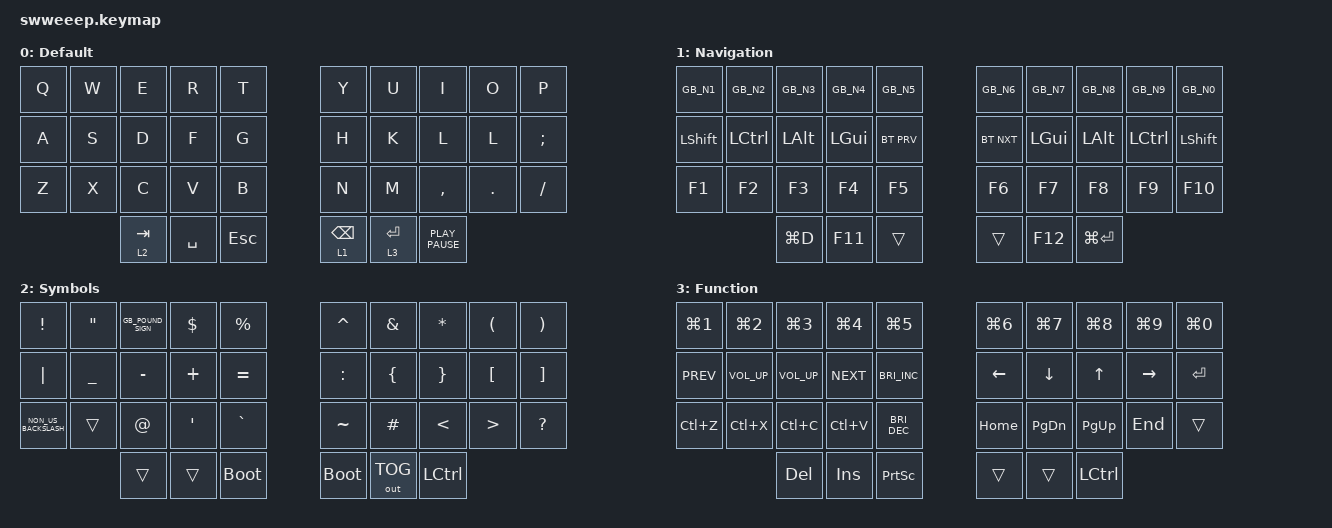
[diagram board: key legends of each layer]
#include <behaviors.dtsi>
#include <dt-bindings/zmk/bt.h>
#include <dt-bindings/zmk/keys.h>
#include <dt-bindings/zmk/outputs.h>
#include "keys_en_gb.h"

#define DEFAULT 0
#define NAV     1
#define SYM     2
#define FUNC    3
#define MEDIA   4
#define MOUSE   5
#define WINNAV  6

&caps_word {
    continue-list = <UNDERSCORE MINUS>;
};

/ {
    combos {
        compatible = "zmk,combos";

        combo_undo {
            timeout-ms = <50>;
            key-positions = <20 21>;
            bindings = <&kp LC(Z)>;
        };
    };
};

/ {
    behaviors {
        hm: homerow_mods {
            compatible = "zmk,behavior-hold-tap";
            label = "HOMEROW_MODS";
            #binding-cells = <2>;
            tapping-term-ms = <200>;
            quick_tap_ms = <0>;
            flavor = "balanced";
            bindings =
                <&kp>,
                <&kp>;
        };
        hs: homerow_shift {
            compatible = "zmk,behavior-hold-tap";
            label = "HOMEROW_SHIFT";
            #binding-cells = <2>;
            tapping-term-ms = <175>;
            quick_tap_ms = <0>;
            flavor = "balanced";
            bindings =
                <&kp>,
                <&kp>;
        };
    };

    keymap {
        compatible = "zmk,keymap";

        default_layer {
            label = "Default";
            bindings = <
&kp Q  &kp W  &kp E      &kp R      &kp T                     &kp Y        &kp U             &kp I    &kp O     &kp P
&kp A  &kp S  &kp D      &kp F      &kp G                     &kp H        &kp K             &kp L    &kp L  &kp SEMI
&kp Z  &kp X  &kp C      &kp V      &kp B                     &kp N        &kp M         &kp COMMA  &kp DOT  &kp FSLH
                     &lt 2 TAB  &kp SPACE  &kp ESC  &lt 1 BACKSPACE  &lt 3 ENTER  &kp K_PLAY_PAUSE
            >;
        };

        raise {
            bindings = <
  &kp GB_N1  &kp GB_N2  &kp GB_N3  &kp GB_N4  &kp GB_N5           &kp GB_N6   &kp GB_N7    &kp GB_N8   &kp GB_N9    &kp GB_N0
&kp LEFT_SHIFT     &kp LCTRL  &kp LEFT_ALT  &kp LEFT_GUI  &bt BT_PRV          &bt BT_NXT  &kp LEFT_GUI   &kp LEFT_ALT  &kp LCTRL  &kp LEFT_SHIFT
        &kp F1        &kp F2        &kp F3        &kp F4      &kp F5              &kp F6        &kp F7         &kp F8     &kp F9         &kp F10
                                               &kp LG(D)     &kp F11  &trans      &trans       &kp F12  &kp LG(ENTER)
            >;

            label = "Navigation";
        };

        sym_layer {
            label = "Symbols";
            bindings = <
            &kp EXCL  &kp DOUBLE_QUOTES    &GB_POUND_SIGN  &kp DLLR  &kp PRCNT                 &kp CARET        &kp AMPS      &kp ASTRK  &kp LEFT_PARENTHESIS  &kp RIGHT_PARENTHESIS
            &kp PIPE     &kp UNDERSCORE    &kp MINUS  &kp PLUS  &kp EQUAL                 &kp COLON  &kp LEFT_BRACE       &kp RBRC      &kp LEFT_BRACKET      &kp RIGHT_BRACKET
&kp NON_US_BACKSLASH             &trans  &kp AT_SIGN   &kp SQT  &kp GRAVE                 &kp TILDE        &kp HASH  &kp LESS_THAN      &kp GREATER_THAN           &kp QUESTION
                                                        &trans     &trans  &bootloader  &bootloader    &out OUT_TOG      &kp LCTRL
            >;
        };

        func_layer {
            label = "Function";
            bindings = <
&kp LG(N1)    &kp LG(N2)    &kp LG(N3)  &kp LG(N4)     &kp LG(N5)                   &kp LG(N6)     &kp LG(N7)   &kp LG(N8)  &kp LG(N9)  &kp LG(N0)
&kp K_PREV  &kp C_VOL_UP  &kp C_VOL_UP  &kp K_NEXT  &kp C_BRI_INC                     &kp LEFT       &kp DOWN       &kp UP   &kp RIGHT   &kp ENTER
 &kp LC(Z)     &kp LC(X)     &kp LC(C)   &kp LC(V)  &kp C_BRI_DEC                     &kp HOME  &kp PAGE_DOWN  &kp PAGE_UP     &kp END      &trans
                                           &kp DEL     &kp INSERT  &kp PRINTSCREEN      &trans         &trans    &kp LCTRL
            >;
        };
    };
};
